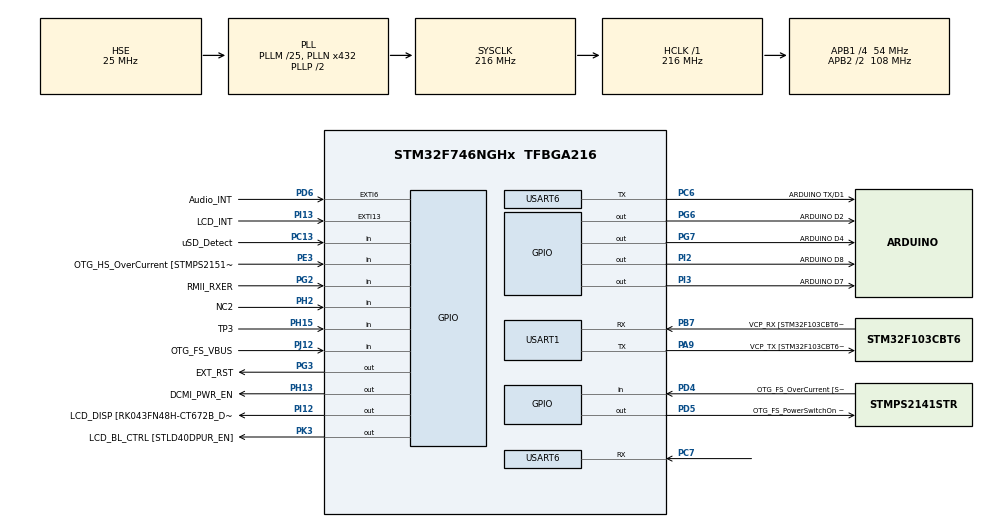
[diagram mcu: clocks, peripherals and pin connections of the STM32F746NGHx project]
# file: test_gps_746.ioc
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Mcu.Family=STM32F7
Mcu.Name=STM32F746NGHx
Mcu.Package=TFBGA216
NVIC.PriorityGroup=NVIC_PRIORITYGROUP_4
NVIC.USART6_IRQn=true\:0\:0\:false\:false\:true\:true\:true\:true
PA0/WKUP.GPIO_Label=ARDUINO A0
PA0/WKUP.GPIO_Mode=GPIO_MODE_ANALOG
PA0/WKUP.GPIO_PuPd=GPIO_NOPULL
PA0/WKUP.Signal=ADCx_IN0
PA1.GPIO_Label=RMII_REF_CLK [LAN8742A-CZ-TR_REFCLK0]
PA1.Signal=ETH_REF_CLK
PA10.GPIO_Label=OTG_FS_ID
PA10.Signal=USB_OTG_FS_ID
PA11.GPIO_Label=OTG_FS_N
PA11.Signal=USB_OTG_FS_DM
PA12.GPIO_Label=OTG_FS_P
PA12.Signal=USB_OTG_FS_DP
PA13.GPIO_Label=SWDIO
PA13.Mode=Serial_Wire
PA13.Signal=SYS_JTMS-SWDIO
PA14.GPIO_Label=SWCLK
PA14.Mode=Serial_Wire
PA14.Signal=SYS_JTCK-SWCLK
PA15.GPIO_Label=ARDUINO PWM/D9
PA15.GPIO_ModeDefaultPP=GPIO_MODE_AF_PP
PA15.GPIO_PuPd=GPIO_NOPULL
PA15.GPIO_Speed=GPIO_SPEED_FREQ_LOW
PA15.Signal=S_TIM2_CH1_ETR
PA2.GPIO_Label=RMII_MDIO [LAN8742A-CZ-TR_MDIO]
PA2.Signal=ETH_MDIO
PA3.GPIO_Label=ULPI_D0 [USB3320C-EZK_D0]
PA3.Signal=USB_OTG_HS_ULPI_D0
PA4.GPIO_Label=DCMI_HSYNC
PA4.Signal=DCMI_HSYNC
PA5.GPIO_Label=ULPI_CLK [USB3320C-EZK_CLKOUT]
PA5.Signal=USB_OTG_HS_ULPI_CK
PA6.Signal=DCMI_PIXCLK
PA7.GPIO_Label=RMII_CRS_DV [LAN8742A-CZ-TR_CRS_DV]
PA7.Signal=ETH_CRS_DV
PA8.GPIO_Label=ARDUINO PWM/D10
PA8.GPIO_ModeDefaultPP=GPIO_MODE_AF_PP
PA8.GPIO_PuPd=GPIO_NOPULL
PA8.GPIO_Speed=GPIO_SPEED_FREQ_LOW
PA8.Signal=S_TIM1_CH1
PA9.GPIO_Label=VCP_TX [STM32F103CBT6_PA3]
PA9.GPIO_Mode=GPIO_MODE_AF_PP
PA9.GPIO_PuPd=GPIO_NOPULL
PA9.GPIO_Speed=GPIO_SPEED_FREQ_LOW
PA9.Mode=Asynchronous
PA9.Signal=USART1_TX
PB0.GPIO_Label=ULPI_D1 [USB3320C-EZK_D1]
PB0.Signal=USB_OTG_HS_ULPI_D1
PB1.GPIO_Label=ULPI_D2 [USB3320C-EZK_D2]
PB1.Signal=USB_OTG_HS_ULPI_D2
PB10.GPIO_Label=ULPI_D3 [USB3320C-EZK_D3]
PB10.Signal=USB_OTG_HS_ULPI_D3
PB11.GPIO_Label=ULPI_D4 [USB3320C-EZK_D4]
PB11.Signal=USB_OTG_HS_ULPI_D4
PB12.GPIO_Label=ULPI_D5 [USB3320C-EZK_D5]
PB12.Signal=USB_OTG_HS_ULPI_D5
PB13.GPIO_Label=ULPI_D6 [USB3320C-EZK_D6]
PB13.Signal=USB_OTG_HS_ULPI_D6
PB14.GPIO_Label=ARDUINO MISO/D12
PB14.GPIO_Mode=GPIO_MODE_AF_PP
PB14.GPIO_PuPd=GPIO_NOPULL
PB14.GPIO_Speed=GPIO_SPEED_FREQ_LOW
PB14.Signal=SPI2_MISO
PB15.GPIO_Label=ARDUINO MOSI/PWM/D11
PB15.GPIO_Mode=GPIO_MODE_AF_PP
PB15.GPIO_PuPd=GPIO_NOPULL
PB15.GPIO_Speed=GPIO_SPEED_FREQ_LOW
PB15.Signal=SPI2_MOSI
PB2.Signal=QUADSPI_CLK
PB3.GPIO_Label=SWO
PB3.Signal=SYS_JTDO-SWO
PB4.GPIO_Label=ARDUINO PWM/D3
PB4.GPIO_ModeDefaultPP=GPIO_MODE_AF_PP
PB4.GPIO_PuPd=GPIO_NOPULL
PB4.GPIO_Speed=GPIO_SPEED_FREQ_LOW
PB4.Signal=S_TIM3_CH1
PB5.GPIO_Label=ULPI_D7 [USB3320C-EZK_D7]
PB5.Signal=USB_OTG_HS_ULPI_D7
PB6.GPIO_Label=QSPI_NCS [N25Q128A13EF840E_S]
PB6.Signal=QUADSPI_BK1_NCS
PB7.GPIO_Label=VCP_RX [STM32F103CBT6_PA2]
PB7.GPIO_Mode=GPIO_MODE_AF_PP
PB7.GPIO_PuPd=GPIO_NOPULL
PB7.GPIO_Speed=GPIO_SPEED_FREQ_LOW
PB7.Mode=Asynchronous
PB7.Signal=USART1_RX
PB8.GPIO_Label=ARDUINO SCL/D15
PB8.GPIO_Mode=GPIO_MODE_AF_OD
PB8.GPIO_PuPd=GPIO_NOPULL
PB8.GPIO_Speed=GPIO_SPEED_FREQ_LOW
PB8.Signal=I2C1_SCL
PB9.GPIO_Label=ARDUINO SDA/D14
PB9.GPIO_Mode=GPIO_MODE_AF_OD
PB9.GPIO_PuPd=GPIO_NOPULL
PB9.GPIO_Speed=GPIO_SPEED_FREQ_LOW
PB9.Signal=I2C1_SDA
PC0.GPIO_Label=ULPI_STP [USB3320C-EZK_STP]
PC0.Signal=USB_OTG_HS_ULPI_STP
PC1.GPIO_Label=RMII_MDC [LAN8742A-CZ-TR_MDC]
PC1.Signal=ETH_MDC
PC10.GPIO_Label=SDMMC_D2
PC10.Signal=SDMMC1_D2
PC11.GPIO_Label=SDMMC_D3
PC11.Signal=SDMMC1_D3
PC12.GPIO_Label=SDMMC_CK
PC12.Signal=SDMMC1_CK
PC13.GPIO_Label=uSD_Detect
PC13.Signal=GPIO_Input
PC14/OSC32_IN.GPIO_Label=RCC_OSC32_IN
PC14/OSC32_IN.Signal=RCC_OSC32_IN
PC15/OSC32_OUT.GPIO_Label=RCC_OSC32_OUT
PC15/OSC32_OUT.Signal=RCC_OSC32_OUT
PC2.GPIO_Label=ULPI_DIR [USB3320C-EZK_DIR]
PC2.Signal=USB_OTG_HS_ULPI_DIR
PC3.GPIO_Label=FMC_SDCKE0 [MT48LC4M32B2B5-6A_CKE]
PC3.Signal=FMC_SDCKE0
PC4.GPIO_Label=RMII_RXD0 [LAN8742A-CZ-TR_RXD0]
PC4.Signal=ETH_RXD0
PC5.GPIO_Label=RMII_RXD1 [LAN8742A-CZ-TR_RXD1]
PC5.Signal=ETH_RXD1
PC6.GPIO_Label=ARDUINO TX/D1
PC6.Mode=Asynchronous
PC6.Signal=USART6_TX
PC7.Mode=Asynchronous
PC7.Signal=USART6_RX
PC8.Signal=SDMMC1_D0
PC9.Signal=SDMMC1_D1
PD0.GPIO_Label=FMC_D2 [MT48LC4M32B2B5-6A_DQ2]
PD0.Signal=FMC_D2_DA2
PD1.GPIO_Label=FMC_D3 [MT48LC4M32B2B5-6A_DQ3]
PD1.Signal=FMC_D3_DA3
PD10.GPIO_Label=FMC_D15 [MT48LC4M32B2B5-6A_DQ15]
PD10.Signal=FMC_D15_DA15
PD11.GPIO_Label=QSPI_D0 [N25Q128A13EF840E_DQ0]
PD11.Signal=QUADSPI_BK1_IO0
PD12.GPIO_Label=QSPI_D1 [N25Q128A13EF840E_DQ1]
PD12.Signal=QUADSPI_BK1_IO1
PD13.GPIO_Label=QSPI_D3 [N25Q128A13EF840E_DQ3]
PD13.Signal=QUADSPI_BK1_IO3
PD14.GPIO_Label=FMC_D0 [MT48LC4M32B2B5-6A_DQ0]
PD14.Signal=FMC_D0_DA0
PD15.GPIO_Label=FMC_D1 [MT48LC4M32B2B5-6A_DQ1]
PD15.Signal=FMC_D1_DA1
PD2.GPIO_Label=SDMMC_D0
PD2.Signal=SDMMC1_CMD
PD3.GPIO_Label=DCMI_D5
PD3.Signal=DCMI_D5
PD4.GPIO_Label=OTG_FS_OverCurrent [STMPS2141STR_Fault]
PD4.Signal=GPIO_Input
PD5.GPIO_Label=OTG_FS_PowerSwitchOn [STMPS2141STR_EN]
PD5.PinState=GPIO_PIN_SET
PD5.Signal=GPIO_Output
PD6.GPIO_Label=Audio_INT
PD6.GPIO_ModeDefaultEXTI=GPIO_MODE_EVT_RISING
PD6.Signal=GPXTI6
PD7.GPIO_Label=SPDIF_RX0 [74LVC1G04SE_4]
PD7.Signal=SPDIFRX_IN0
PD8.GPIO_Label=FMC_D13 [MT48LC4M32B2B5-6A_DQ13]
PD8.Signal=FMC_D13_DA13
PD9.GPIO_Label=FMC_D14 [MT48LC4M32B2B5-6A_DQ14]
PD9.Signal=FMC_D14_DA14
PE0.GPIO_Label=FMC_NBL0 [MT48LC4M32B2B5-6A_DQM0]
PE0.Signal=FMC_NBL0
PE1.GPIO_Label=FMC_NBL1 [MT48LC4M32B2B5-6A_DQM1]
PE1.Signal=FMC_NBL1
PE10.GPIO_Label=FMC_D7 [MT48LC4M32B2B5-6A_DQ7]
PE10.Signal=FMC_D7_DA7
PE11.GPIO_Label=FMC_D8 [MT48LC4M32B2B5-6A_DQ8]
PE11.Signal=FMC_D8_DA8
PE12.GPIO_Label=FMC_D9 [MT48LC4M32B2B5-6A_DQ9]
PE12.Signal=FMC_D9_DA9
PE13.GPIO_Label=FMC_D10 [MT48LC4M32B2B5-6A_DQ10]
PE13.Signal=FMC_D10_DA10
PE14.GPIO_Label=FMC_D11 [MT48LC4M32B2B5-6A_DQ11]
PE14.Signal=FMC_D11_DA11
PE15.GPIO_Label=FMC_D12 [MT48LC4M32B2B5-6A_DQ12]
PE15.Signal=FMC_D12_DA12
PE2.GPIO_Label=QSPI_D2 [N25Q128A13EF840E_DQ2]
PE2.Signal=QUADSPI_BK1_IO2
PE3.GPIO_Label=OTG_HS_OverCurrent [STMPS2151STR_FAULT]
PE3.Signal=GPIO_Input
PE4.GPIO_Label=LCD_B0 [RK043FN48H-CT672B_B0]
PE4.Signal=LTDC_B0
PE5.GPIO_Label=DCMI_D6
PE5.Signal=DCMI_D6
PE6.GPIO_Label=DCMI_D7
PE6.Signal=DCMI_D7
PE7.GPIO_Label=FMC_D4 [MT48LC4M32B2B5-6A_DQ4]
PE7.Signal=FMC_D4_DA4
PE8.GPIO_Label=FMC_D5 [MT48LC4M32B2B5-6A_DQ5]
PE8.Signal=FMC_D5_DA5
PE9.GPIO_Label=FMC_D6 [MT48LC4M32B2B5-6A_DQ6]
PE9.Signal=FMC_D6_DA6
PF0.GPIO_Label=FMC_A0 [MT48LC4M32B2B5-6A_A0]
PF0.Signal=FMC_A0
PF1.GPIO_Label=FMC_A1 [MT48LC4M32B2B5-6A_A1]
PF1.Signal=FMC_A1
PF10.GPIO_Label=ARDUINO A1
PF10.GPIO_Mode=GPIO_MODE_ANALOG
PF10.GPIO_PuPd=GPIO_NOPULL
PF10.Signal=ADC3_IN8
PF11.GPIO_Label=FMC_SDNRAS [MT48LC4M32B2B5-6A_RAS]
PF11.Signal=FMC_SDNRAS
PF12.GPIO_Label=FMC_A6 [MT48LC4M32B2B5-6A_A6]
PF12.Signal=FMC_A6
PF13.GPIO_Label=FMC_A7 [MT48LC4M32B2B5-6A_A7]
PF13.Signal=FMC_A7
PF14.GPIO_Label=FMC_A8 [MT48LC4M32B2B5-6A_A8]
PF14.Signal=FMC_A8
PF15.GPIO_Label=FMC_A9 [MT48LC4M32B2B5-6A_A9]
PF15.Signal=FMC_A9
PF2.GPIO_Label=FMC_A2 [MT48LC4M32B2B5-6A_A2]
PF2.Signal=FMC_A2
PF3.GPIO_Label=FMC_A3 [MT48LC4M32B2B5-6A_A3]
PF3.Signal=FMC_A3
PF4.GPIO_Label=FMC_A4 [MT48LC4M32B2B5-6A_A4]
PF4.Signal=FMC_A4
PF5.GPIO_Label=FMC_A5 [MT48LC4M32B2B5-6A_A5]
PF5.Signal=FMC_A5
PF6.GPIO_Label=ARDUINO A5
PF6.GPIO_Mode=GPIO_MODE_ANALOG
PF6.GPIO_PuPd=GPIO_NOPULL
PF6.Signal=ADC3_IN4
PF7.GPIO_Label=ARDUINO A4
PF7.GPIO_Mode=GPIO_MODE_ANALOG
PF7.GPIO_PuPd=GPIO_NOPULL
PF7.Signal=ADC3_IN5
PF8.GPIO_Label=ARDUINO A3
PF8.GPIO_Mode=GPIO_MODE_ANALOG
PF8.GPIO_PuPd=GPIO_NOPULL
PF8.Signal=ADC3_IN6
PF9.GPIO_Label=ARDUINO A2
PF9.GPIO_Mode=GPIO_MODE_ANALOG
PF9.GPIO_PuPd=GPIO_NOPULL
PF9.Signal=ADC3_IN7
PG0.GPIO_Label=FMC_A10 [MT48LC4M32B2B5-6A_A10]
PG0.Signal=FMC_A10
PG1.GPIO_Label=FMC_A11 [MT48LC4M32B2B5-6A_A11]
PG1.Signal=FMC_A11
PG10.GPIO_Label=SAI2_SDB [WM8994ECS/R_ADCDAT1]
PG10.Signal=SAI2_SD_B
PG11.GPIO_Label=RMII_TX_EN [LAN8742A-CZ-TR_TXEN]
PG11.Signal=ETH_TX_EN
PG12.GPIO_Label=LCD_B4 [RK043FN48H-CT672B_B4]
PG12.Signal=LTDC_B4
PG13.GPIO_Label=RMII_TXD0 [LAN8742A-CZ-TR_TXD0]
PG13.Signal=ETH_TXD0
PG14.GPIO_Label=RMII_TXD1 [LAN8742A-CZ-TR_TXD1]
PG14.Signal=ETH_TXD1
PG15.GPIO_Label=FMC_SDNCAS [MT48LC4M32B2B5-6A_CAS]
PG15.Signal=FMC_SDNCAS
PG2.GPIO_Label=RMII_RXER
PG2.Signal=GPIO_Input
PG3.GPIO_Label=EXT_RST
PG3.Signal=GPIO_Output
PG4.GPIO_Label=FMC_BA0 [MT48LC4M32B2B5-6A_BA0]
PG4.Signal=FMC_A14_BA0
PG5.GPIO_Label=FMC_BA1 [MT48LC4M32B2B5-6A_BA1]
PG5.Signal=FMC_A15_BA1
PG6.GPIO_Label=ARDUINO D2
PG6.Signal=GPIO_Output
PG7.GPIO_Label=ARDUINO D4
PG7.Signal=GPIO_Output
PG8.GPIO_Label=FMC_SDCLK [MT48LC4M32B2B5-6A_CLK]
PG8.Signal=FMC_SDCLK
PG9.GPIO_Label=DCMI_VSYNC
PG9.Signal=DCMI_VSYNC
PH0/OSC_IN.GPIO_Label=OSC_25M [NZ2520SB-25.00M_OUT]
PH0/OSC_IN.Mode=HSE-External-Oscillator
PH0/OSC_IN.Signal=RCC_OSC_IN
PH1/OSC_OUT.Mode=HSE-External-Oscillator
PH1/OSC_OUT.Signal=RCC_OSC_OUT
PH10.GPIO_Label=DCMI_D1
PH10.Signal=DCMI_D1
PH11.GPIO_Label=DCMI_D2
PH11.Signal=DCMI_D2
PH12.GPIO_Label=DCMI_D3
PH12.Signal=DCMI_D3
PH13.GPIO_Label=DCMI_PWR_EN
PH13.Signal=GPIO_Output
PH14.GPIO_Label=DCMI_D4
PH14.Signal=DCMI_D4
PH15.GPIO_Label=TP3
PH15.Signal=GPIO_Input
PH2.GPIO_Label=NC2
PH2.Signal=GPIO_Input
PH3.GPIO_Label=FMC_SDNE0 [MT48LC4M32B2B5-6A_CS]
PH3.Signal=FMC_SDNE0
PH4.GPIO_Label=ULPI_NXT [USB3320C-EZK_NXT]
PH4.Signal=USB_OTG_HS_ULPI_NXT
PH5.GPIO_Label=FMC_SDNME [MT48LC4M32B2B5-6A_WE]
PH5.Signal=FMC_SDNWE
PH6.GPIO_Label=ARDUINO PWM/D6
PH6.Signal=S_TIM12_CH1
PH7.GPIO_Label=LCD_SCL [RK043FN48H-CT672B_SCL]
PH7.Signal=I2C3_SCL
PH8.GPIO_Label=LCD_SDA [RK043FN48H-CT672B_SDA]
PH8.Signal=I2C3_SDA
PH9.GPIO_Label=DCMI_D0
PH9.Signal=DCMI_D0
PI0.GPIO_Label=ARDUINO PWM/CS/D5
PI0.GPIO_ModeDefaultPP=GPIO_MODE_AF_PP
PI0.GPIO_PuPd=GPIO_NOPULL
PI0.GPIO_Speed=GPIO_SPEED_FREQ_LOW
PI0.Signal=S_TIM5_CH4
PI1.GPIO_Label=ARDUINO SCK/D13
PI1.GPIO_Mode=GPIO_MODE_AF_PP
PI1.GPIO_PuPd=GPIO_NOPULL
PI1.GPIO_Speed=GPIO_SPEED_FREQ_LOW
PI1.Signal=SPI2_SCK
PI10.GPIO_Label=LCD_HSYNC [RK043FN48H-CT672B_HSYNC]
PI10.Signal=LTDC_HSYNC
PI12.GPIO_Label=LCD_DISP [RK043FN48H-CT672B_DISP] 
PI12.Signal=GPIO_Output
PI13.GPIO_Label=LCD_INT
PI13.GPIO_ModeDefaultEXTI=GPIO_MODE_EVT_RISING
PI13.Signal=GPXTI13
PI14.GPIO_Label=LCD_CLK [RK043FN48H-CT672B_CLK]
PI14.Signal=LTDC_CLK
PI15.GPIO_Label=LCD_R0 [RK043FN48H-CT672B_R0]
PI15.Signal=LTDC_R0
PI2.GPIO_Label=ARDUINO D8
PI2.Signal=GPIO_Output
PI3.GPIO_Label=ARDUINO D7
PI3.Signal=GPIO_Output
PI4.GPIO_Label=SAI2_MCLKA [WM8994ECS/R_MCLK1]
PI4.Signal=SAI2_MCLK_A
PI5.GPIO_Label=SAI2_SCKA [WM8994ECS/R_BCLK1]
PI5.Signal=SAI2_SCK_A
PI6.GPIO_Label=SAI2_SDA [WM8994ECS/R_DACDAT1]
PI6.Signal=SAI2_SD_A
PI7.GPIO_Label=SAI2_FSA [WM8994ECS/R_LRCLK1]
PI7.Signal=SAI2_FS_A
PI8.GPIO_Label=NC1 [TP2]
PI8.Signal=RTC_TS
PI9.GPIO_Label=LCD_VSYNC [RK043FN48H-CT672B_VSYNC]
PI9.Signal=LTDC_VSYNC
PJ0.GPIO_Label=LCD_R1 [RK043FN48H-CT672B_R1]
PJ0.Signal=LTDC_R1
PJ1.GPIO_Label=LCD_R2 [RK043FN48H-CT672B_R2]
PJ1.Signal=LTDC_R2
PJ10.GPIO_Label=LCD_G3 [RK043FN48H-CT672B_G3]
PJ10.Signal=LTDC_G3
PJ11.GPIO_Label=LCD_G4 [RK043FN48H-CT672B_G4]
PJ11.Signal=LTDC_G4
PJ12.GPIO_Label=OTG_FS_VBUS
PJ12.Signal=GPIO_Input
PJ13.GPIO_Label=LCD_B1 [RK043FN48H-CT672B_B1]
PJ13.Signal=LTDC_B1
PJ14.GPIO_Label=LCD_B2 [RK043FN48H-CT672B_B2]
PJ14.Signal=LTDC_B2
PJ15.GPIO_Label=LCD_B3 [RK043FN48H-CT672B_B3]
PJ15.Signal=LTDC_B3
PJ2.GPIO_Label=LCD_R3 [RK043FN48H-CT672B_R3]
PJ2.Signal=LTDC_R3
PJ3.GPIO_Label=LCD_R4 [RK043FN48H-CT672B_R4]
PJ3.Signal=LTDC_R4
PJ4.GPIO_Label=LCD_R5 [RK043FN48H-CT672B_R5]
PJ4.Signal=LTDC_R5
PJ5.GPIO_Label=LCD_R6 [RK043FN48H-CT672B_R6]
PJ5.Signal=LTDC_R6
PJ6.GPIO_Label=LCD_R7 [RK043FN48H-CT672B_R7]
PJ6.Signal=LTDC_R7
PJ7.GPIO_Label=LCD_G0 [RK043FN48H-CT672B_G0]
PJ7.Signal=LTDC_G0
PJ8.GPIO_Label=LCD_G1 [RK043FN48H-CT672B_G1]
PJ8.Signal=LTDC_G1
PJ9.GPIO_Label=LCD_G2 [RK043FN48H-CT672B_G2]
PJ9.Signal=LTDC_G2
PK0.GPIO_Label=LCD_G5 [RK043FN48H-CT672B_G5]
PK0.Signal=LTDC_G5
PK1.GPIO_Label=LCD_G6 [RK043FN48H-CT672B_G6]
PK1.Signal=LTDC_G6
PK2.GPIO_Label=LCD_G7 [RK043FN48H-CT672B_G7]
PK2.Signal=LTDC_G7
PK3.GPIO_Label=LCD_BL_CTRL [STLD40DPUR_EN]
PK3.Signal=GPIO_Output
PK4.GPIO_Label=LCD_B5 [RK043FN48H-CT672B_B5]
PK4.Signal=LTDC_B5
PK5.GPIO_Label=LCD_B6 [RK043FN48H-CT672B_B6]
PK5.Signal=LTDC_B6
PK6.GPIO_Label=LCD_B7 [RK043FN48H-CT672B_B7]
PK6.Signal=LTDC_B7
PK7.GPIO_Label=LCD_DE [RK043FN48H-CT672B_DE]
PK7.Signal=LTDC_DE
ProjectManager.HeapSize=0x200
ProjectManager.StackSize=0x400
ProjectManager.TargetToolchain=STM32CubeIDE
RCC.AHBFreq_Value=216000000
RCC.APB1CLKDivider=RCC_HCLK_DIV4
RCC.APB1Freq_Value=54000000
RCC.APB1TimFreq_Value=108000000
RCC.APB2CLKDivider=RCC_HCLK_DIV2
RCC.APB2Freq_Value=108000000
RCC.APB2TimFreq_Value=216000000
RCC.CortexFreq_Value=216000000
RCC.HCLKFreq_Value=216000000
RCC.HSE_VALUE=25000000
RCC.HSI_VALUE=16000000
RCC.LSE_VALUE=32768
RCC.PLLM=25
RCC.PLLN=432
RCC.PLLSourceVirtual=RCC_PLLSOURCE_HSE
RCC.SYSCLKFreq_VALUE=216000000
RCC.SYSCLKSource=RCC_SYSCLKSOURCE_PLLCLK
RCC.USBFreq_Value=216000000
RCC.VCOOutputFreq_Value=432000000
SH.ADCx_IN0.0=ADC3_IN0
SH.FMC_A0.0=FMC_A0
SH.FMC_A1.0=FMC_A1
SH.FMC_A10.0=FMC_A10
SH.FMC_A11.0=FMC_A11
SH.FMC_A14_BA0.0=FMC_BA0
SH.FMC_A15_BA1.0=FMC_BA1
SH.FMC_A2.0=FMC_A2
SH.FMC_A3.0=FMC_A3
SH.FMC_A4.0=FMC_A4
SH.FMC_A5.0=FMC_A5
SH.FMC_A6.0=FMC_A6
SH.FMC_A7.0=FMC_A7
SH.FMC_A8.0=FMC_A8
SH.FMC_A9.0=FMC_A9
SH.FMC_D0_DA0.0=FMC_D0
SH.FMC_D10_DA10.0=FMC_D10
SH.FMC_D11_DA11.0=FMC_D11
SH.FMC_D12_DA12.0=FMC_D12
SH.FMC_D13_DA13.0=FMC_D13
SH.FMC_D14_DA14.0=FMC_D14
SH.FMC_D15_DA15.0=FMC_D15
SH.FMC_D1_DA1.0=FMC_D1
SH.FMC_D2_DA2.0=FMC_D2
SH.FMC_D3_DA3.0=FMC_D3
SH.FMC_D4_DA4.0=FMC_D4
SH.FMC_D5_DA5.0=FMC_D5
SH.FMC_D6_DA6.0=FMC_D6
SH.FMC_D7_DA7.0=FMC_D7
SH.FMC_D8_DA8.0=FMC_D8
SH.FMC_D9_DA9.0=FMC_D9
SH.FMC_NBL0.0=FMC_NBL0
SH.FMC_NBL1.0=FMC_NBL1
SH.FMC_SDCLK.0=FMC_SDCLK
SH.FMC_SDNCAS.0=FMC_SDNCAS
SH.FMC_SDNRAS.0=FMC_SDNRAS
SH.FMC_SDNWE.0=FMC_SDNWE
SH.S_TIM12_CH1.0=TIM12_CH1
SH.S_TIM1_CH1.0=TIM1_CH1
SH.S_TIM2_CH1_ETR.0=TIM2_CH1
SH.S_TIM3_CH1.0=TIM3_CH1
SH.S_TIM5_CH4.0=TIM5_CH4
USART1.VirtualMode-Asynchronous=VM_ASYNC
USART6.BaudRate=9600
USART6.VirtualMode-Asynchronous=VM_ASYNC
board=STM32F746G-DISCO

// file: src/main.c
/* USER CODE BEGIN Header */
/**
 ******************************************************************************
 * @file           : main.c
 * @brief          : Main program body
 ******************************************************************************
 * @attention
 *
 * Copyright (c) 2023 STMicroelectronics.
 * All rights reserved.
 *
 * This software is licensed under terms that can be found in the LICENSE file
 * in the root directory of this software component.
 * If no LICENSE file comes with this software, it is provided AS-IS.
 *
 ******************************************************************************
 */
/* USER CODE END Header */
#include "main.h"
#include "usart.h"
#include "gpio.h"

/* USER CODE BEGIN Includes */
#include <stdio.h>
#include "nmea.h"

/* USER CODE END Includes */

/* USER CODE BEGIN PV */
nmea_t h_gps;
/* USER CODE END PV */

void SystemClock_Config(void);

/* USER CODE BEGIN 0 */
int __io_putchar(int ch)
{
	HAL_UART_Transmit(&huart1, (uint8_t*)&ch, 1, HAL_MAX_DELAY);
	return ch;
}
/* USER CODE END 0 */

int main(void)
{

	/* MCU Configuration--------------------------------------------------------*/

	/* Reset of all peripherals, Initializes the Flash interface and the Systick. */
	HAL_Init();

	/* Configure the system clock */
	SystemClock_Config();

	/* Initialize all configured peripherals */
	MX_GPIO_Init();
	MX_USART1_UART_Init();
	MX_USART6_UART_Init();
	/* USER CODE BEGIN 2 */
	printf("\r\n===== GPS =====\r\n");
	if (nmea_init(&h_gps, USART6, 1024) == 0)
	{
		printf("Error nmea_init\r\n");
		Error_Handler();
	}
	uint8_t time_h;
	uint8_t time_m;
	uint8_t time_s;
	float latitude_deg ;
	float longitude_deg ;
	float altitude ;
	/* USER CODE END 2 */

	/* Infinite loop */
	/* USER CODE BEGIN WHILE */
	//uint8_t chr;
	while (1)
	{
//		HAL_UART_Receive(&huart6, &chr, 1, HAL_MAX_DELAY);
		nmea_loop(&h_gps);
		if (nmea_available(&h_gps))
		{
			nmea_gnss_time_h(&h_gps, &time_h);
			nmea_gnss_time_m(&h_gps, &time_m);
			nmea_gnss_time_s(&h_gps, &time_s);
			nmea_gnss_latitude_deg(&h_gps,&latitude_deg);
			nmea_gnss_longitude_deg(&h_gps,&longitude_deg);
			nmea_gnss_altitude_m(&h_gps,&altitude);
			nmea_available_reset(&h_gps);

			printf("%d:%d:%d\r\n", time_h, time_m, time_s);
			printf("lat:%d long:%d alti:%d\r\n", latitude_deg, longitude_deg, altitude);
		}
		//nmea_callback(&gps); // to put in interrupt file
//		HAL_UART_Transmit(&huart1, &chr, 1, HAL_MAX_DELAY);
		/* USER CODE END WHILE */

	}
}

void SystemClock_Config(void)
{
	RCC_OscInitTypeDef RCC_OscInitStruct = {0};
	RCC_ClkInitTypeDef RCC_ClkInitStruct = {0};

	/** Configure the main internal regulator output voltage
	 */
	__HAL_RCC_PWR_CLK_ENABLE();
	__HAL_PWR_VOLTAGESCALING_CONFIG(PWR_REGULATOR_VOLTAGE_SCALE1);

	/** Initializes the RCC Oscillators according to the specified parameters
	 * in the RCC_OscInitTypeDef structure.
	 */
	RCC_OscInitStruct.OscillatorType = RCC_OSCILLATORTYPE_HSE;
	RCC_OscInitStruct.HSEState = RCC_HSE_ON;
	RCC_OscInitStruct.PLL.PLLState = RCC_PLL_ON;
	RCC_OscInitStruct.PLL.PLLSource = RCC_PLLSOURCE_HSE;
	RCC_OscInitStruct.PLL.PLLM = 25;
	RCC_OscInitStruct.PLL.PLLN = 432;
	RCC_OscInitStruct.PLL.PLLP = RCC_PLLP_DIV2;
	RCC_OscInitStruct.PLL.PLLQ = 2;
	if (HAL_RCC_OscConfig(&RCC_OscInitStruct) != HAL_OK)
	{
		Error_Handler();
	}

	/** Activate the Over-Drive mode
	 */
	if (HAL_PWREx_EnableOverDrive() != HAL_OK)
	{
		Error_Handler();
	}

	/** Initializes the CPU, AHB and APB buses clocks
	 */
	RCC_ClkInitStruct.ClockType = RCC_CLOCKTYPE_HCLK|RCC_CLOCKTYPE_SYSCLK
			|RCC_CLOCKTYPE_PCLK1|RCC_CLOCKTYPE_PCLK2;
	RCC_ClkInitStruct.SYSCLKSource = RCC_SYSCLKSOURCE_PLLCLK;
	RCC_ClkInitStruct.AHBCLKDivider = RCC_SYSCLK_DIV1;
	RCC_ClkInitStruct.APB1CLKDivider = RCC_HCLK_DIV4;
	RCC_ClkInitStruct.APB2CLKDivider = RCC_HCLK_DIV2;

	if (HAL_RCC_ClockConfig(&RCC_ClkInitStruct, FLASH_LATENCY_7) != HAL_OK)
	{
		Error_Handler();
	}
}

void Error_Handler(void)
{
	__disable_irq();
	while (1)
	{
	}
}
